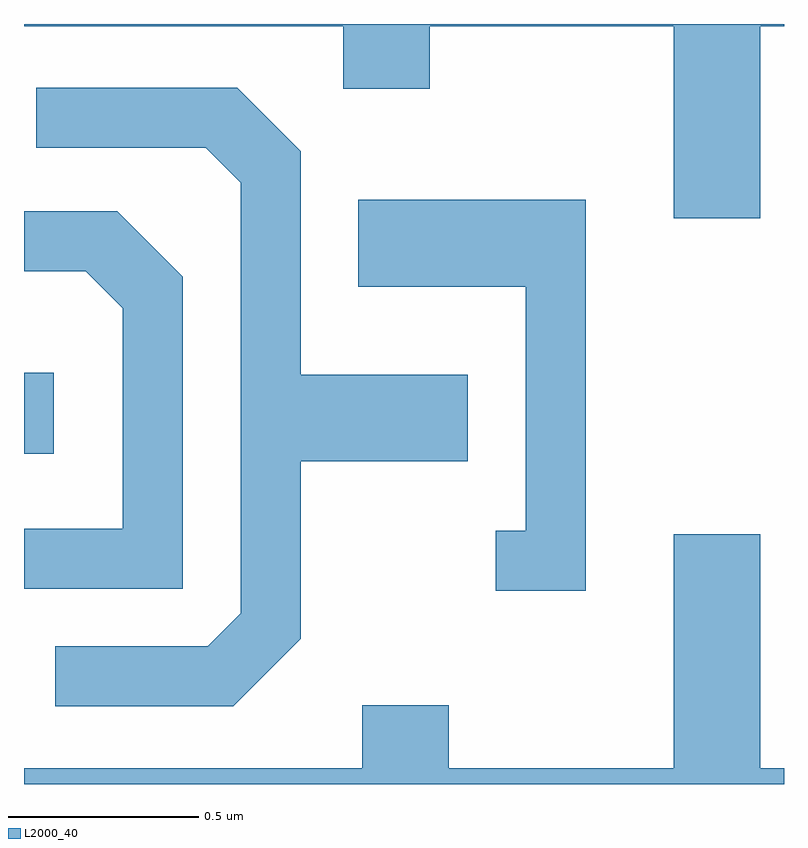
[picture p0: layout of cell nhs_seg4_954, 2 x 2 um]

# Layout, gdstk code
import gdstk
lib = gdstk.Library(unit=1e-6, precision=1e-09)
def R(c, l, rs):  # rectangles x0, y0, x1, y1
    for r in rs: c.add(gdstk.rectangle(r[:2], r[2:], *l))
def P(c, l, *ps):  # polygons
    for p in ps: c.add(gdstk.Polygon(p, *l))
L2000_40 = (2000, 40)

nhs_seg4_954 = lib.new_cell('nhs_seg4_954')
R(nhs_seg4_954, L2000_40, [(191.611,1386.851,191.689,1387.064)])
P(nhs_seg4_954, L2000_40, [(193.549,1387.976),(193.611,1387.976),(193.611,1387.982),(191.611,1387.982),(191.611,1387.976),(192.451,1387.976),(192.451,1387.811),(192.679,1387.811),(192.679,1387.976),(193.321,1387.976),(193.321,1387.471),(193.549,1387.471)],
  [(192.339,1386.364),(192.339,1386.831),(192.779,1386.831),(192.779,1387.059),(192.339,1387.059),(192.339,1387.647),(192.172,1387.814),(191.643,1387.814),(191.643,1387.656),(192.089,1387.656),(192.181,1387.564),(192.181,1386.432),(192.094,1386.344),(191.693,1386.344),(191.693,1386.186),(192.162,1386.186)],
  [(193.089,1387.519),(192.491,1387.519),(192.491,1387.291),(192.931,1387.291),(192.931,1386.649),(192.853,1386.649),(192.853,1386.491),(193.089,1386.491)],
  [(192.029,1387.317),(191.857,1387.489),(191.611,1387.489),(191.611,1387.331),(191.774,1387.331),(191.871,1387.234),(191.871,1386.654),(191.611,1386.654),(191.611,1386.496),(192.029,1386.496)],
  [(193.611,1386.024),(193.549,1386.024),(193.549,1386.639),(193.321,1386.639),(193.321,1386.024),(192.729,1386.024),(192.729,1386.189),(192.501,1386.189),(192.501,1386.024),(191.611,1386.024),(191.611,1385.982),(193.611,1385.982)])

lib.write_gds('nhs_seg4_954.gds')
